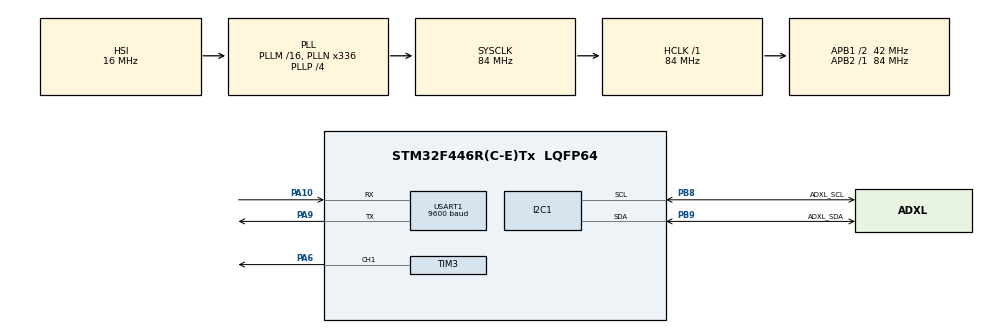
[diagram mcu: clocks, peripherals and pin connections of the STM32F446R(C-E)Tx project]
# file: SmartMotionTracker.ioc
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Mcu.Family=STM32F4
Mcu.Name=STM32F446R(C-E)Tx
Mcu.Package=LQFP64
NVIC.PriorityGroup=NVIC_PRIORITYGROUP_0
NVIC.USART1_IRQn=true\:0\:0\:false\:false\:true\:true\:true\:true
PA10.Mode=Asynchronous
PA10.Signal=USART1_RX
PA13.Mode=Serial_Wire
PA13.Signal=SYS_JTMS-SWDIO
PA14.Mode=Serial_Wire
PA14.Signal=SYS_JTCK-SWCLK
PA6.Signal=S_TIM3_CH1
PA9.Mode=Asynchronous
PA9.Signal=USART1_TX
PB8.GPIO_Label=ADXL_SCL
PB8.Mode=I2C
PB8.Signal=I2C1_SCL
PB9.GPIO_Label=ADXL_SDA
PB9.Mode=I2C
PB9.Signal=I2C1_SDA
PH0-OSC_IN.Mode=HSE-External-Oscillator
PH0-OSC_IN.Signal=RCC_OSC_IN
PH1-OSC_OUT.Mode=HSE-External-Oscillator
PH1-OSC_OUT.Signal=RCC_OSC_OUT
ProjectManager.HeapSize=0x200
ProjectManager.StackSize=0x400
ProjectManager.TargetToolchain=STM32CubeIDE
RCC.48MHZClocksFreq_Value=84000000
RCC.AHBFreq_Value=84000000
RCC.APB1CLKDivider=RCC_HCLK_DIV2
RCC.APB1Freq_Value=42000000
RCC.APB1TimFreq_Value=84000000
RCC.APB2Freq_Value=84000000
RCC.APB2TimFreq_Value=84000000
RCC.CortexFreq_Value=84000000
RCC.FLatency-AdvancedSettings=FLASH_LATENCY_2
RCC.HCLKFreq_Value=84000000
RCC.HSE_VALUE=8000000
RCC.HSI_VALUE=16000000
RCC.PLLN=336
RCC.PLLP=RCC_PLLP_DIV4
RCC.SYSCLKFreq_VALUE=84000000
RCC.SYSCLKSource=RCC_SYSCLKSOURCE_PLLCLK
RCC.USBFreq_Value=168000000
RCC.VCOOutputFreq_Value=336000000
SH.S_TIM3_CH1.0=TIM3_CH1,PWM Generation1 CH1
TIM3.Channel-PWM\ Generation1\ CH1=TIM_CHANNEL_1
TIM3.Period=19999
TIM3.Prescaler=83
TIM3.Pulse-PWM\ Generation1\ CH1=1500
USART1.BaudRate=9600
USART1.VirtualMode=VM_ASYNC
board=NUCLEO-F446RE

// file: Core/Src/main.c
/* USER CODE BEGIN Header */
/**
  ******************************************************************************
  * @file           : main.c
  * @brief          : Main program body
  ******************************************************************************
  * @attention
  *
  * Copyright (c) 2025 STMicroelectronics.
  * All rights reserved.
  *
  * This software is licensed under terms that can be found in the LICENSE file
  * in the root directory of this software component.
  * If no LICENSE file comes with this software, it is provided AS-IS.
  *
  ******************************************************************************
  */
/* USER CODE END Header */
#include "main.h"
#include "i2c.h"
#include "math.h"
#include "stdio.h"
#include "tim.h"
#include "usart.h"
#include "gpio.h"
#include "ssd1306.h"
#include "ssd1306_fonts.h"
#include <stdlib.h>

/* USER CODE BEGIN PD */
#define ADXL345_ADDRESS     (0x53 << 1)  //8-bit address for STM32 HAL (shifted)
#define ADXL345_DEVID       0x00
#define ADXL345_POWER_CTL   0x2D
#define ADXL345_DATA_FORMAT 0x31
#define ADXL345_DATAX0      0x32

/* USER CODE END PD */

/* USER CODE BEGIN PV */
int16_t accX, accY, accZ;;
float gX, gY, gZ;
float roll, pitch;
uint8_t rx_data;
uint8_t rx_buffer[10];
uint8_t rx_index = 0;
float servo_angle =0;
extern I2C_HandleTypeDef hi2c1;
extern TIM_HandleTypeDef htim3;
/* USER CODE END PV */

void SystemClock_Config(void);

/* USER CODE BEGIN 0 */

void ADXL345_Write(uint8_t reg, uint8_t value)
{
    HAL_I2C_Mem_Write(&hi2c1, ADXL345_ADDRESS, reg, 1, &value, 1, 100);
}

uint8_t ADXL345_Read(uint8_t reg)
{
    uint8_t data;
    HAL_I2C_Mem_Read(&hi2c1, ADXL345_ADDRESS, reg, 1, &data, 1, 100);
    return data;
}

void ADXL345_Init(void)
{
    uint8_t devid = ADXL345_Read(ADXL345_DEVID);
    if (devid != 0xE5)
    {
        printf("ADXL345 not found! ID: 0x%02X\r\n", devid);
        return;
    }
    // ±2g ve full resolution mod
    ADXL345_Write(ADXL345_DATA_FORMAT, 0x08);
    // Measurement mode
    ADXL345_Write(ADXL345_POWER_CTL, 0x08);
    printf("ADXL345 initialized successfully.\r\n");
}

void ADXL345_ReadXYZ(void)
{
    uint8_t data[6];
    HAL_I2C_Mem_Read(&hi2c1, ADXL345_ADDRESS, ADXL345_DATAX0, 1, data, 6, 100);

    accX = (int16_t)((data[1] << 8) | data[0]);
    accY = (int16_t)((data[3] << 8) | data[2]);
    accZ = (int16_t)((data[5] << 8) | data[4]);

    gX = accX * 0.0039;
    gY = accY * 0.0039;
    gZ = accZ * 0.0039;
}

void ADXL345_ComputeAngles(void)
{
    roll  = atan2(gY, gZ) * 180 / M_PI;
    pitch = atan2(-gX, sqrt(gY * gY + gZ * gZ)) * 180 / M_PI;
}

void Servo_Set_From_Angle(float roll_angle)
{
    // roll: -45° → 500 PWM, 0° → 1500 PWM, +45° → 2500 PWM
	uint16_t pwm_value = (uint16_t)((roll_angle + 90.0f) * (2000.0f / 180.0f) + 500.0f);

    if (pwm_value < 500) pwm_value = 500;
    if (pwm_value > 2500) pwm_value = 2500;

    __HAL_TIM_SET_COMPARE(&htim3, TIM_CHANNEL_1, pwm_value);
    servo_angle = roll_angle;

}

void HAL_UART_RxCpltCallback(UART_HandleTypeDef *huart)
{
    if (huart->Instance == USART1)
    {
        if (rx_data == '\n')
        {
            rx_buffer[rx_index] = '\0';
            float angle = atof((char*)rx_buffer);

            if (angle >= 0 && angle <= 180)
            {
                servo_angle = angle;
                Servo_Set_From_Angle(servo_angle);
                printf("Servo angle set to %.2f\r\n", servo_angle);
            }
            else
            {
                printf("Invalid angle: %.2f\r\n", angle);
            }
            rx_index = 0;
        }
        else
        {
            rx_buffer[rx_index++] = rx_data;
            if (rx_index >= sizeof(rx_buffer))
                rx_index = 0;
        }
        HAL_UART_Receive_IT(&huart1, &rx_data, 1);
    }
}

/* USER CODE END 0 */

int main(void)
{

  /* MCU Configuration--------------------------------------------------------*/

  /* Reset of all peripherals, Initializes the Flash interface and the Systick. */
	HAL_Init();

  /* Configure the system clock */
  SystemClock_Config();

  /* Initialize all configured peripherals */
  MX_GPIO_Init();
  MX_USART1_UART_Init();
  MX_I2C1_Init();
  MX_TIM3_Init();
  ADXL345_Init();
  ssd1306_Init();
  HAL_TIM_PWM_Start(&htim3, TIM_CHANNEL_1);

  HAL_UART_Receive_IT(&huart1, &rx_data, 1);
  printf("Bluetooth Servo Control Ready.\r\n");

  /* Infinite loop */
  /* USER CODE BEGIN WHILE */
  while (1)
  {
      ADXL345_ReadXYZ();
      ADXL345_ComputeAngles();

      Servo_Set_From_Angle(roll);
      HAL_Delay(1500);

      ssd1306_Fill(Black);

      char buf[32];
      ssd1306_SetCursor(0, 0);
      snprintf(buf, sizeof(buf), "Roll : %.2f", roll);
      ssd1306_WriteString(buf, Font_7x10, 1);

      ssd1306_SetCursor(0, 16);
      snprintf(buf, sizeof(buf), "Pitch: %.2f", pitch);
      ssd1306_WriteString(buf, Font_7x10, 1);

      ssd1306_SetCursor(0, 32);
      if (fabs(roll) > 15 || fabs(pitch) > 15)
          ssd1306_WriteString("Status: TILTED", Font_7x10, 1);
      else
          ssd1306_WriteString("Status: STABLE", Font_7x10, 1);

      ssd1306_SetCursor(0, 48);
      snprintf(buf, sizeof(buf), "Servo: %.2f", servo_angle);
      ssd1306_WriteString(buf, Font_7x10, 1);

      ssd1306_UpdateScreen();

      /*
      __HAL_TIM_SET_COMPARE(&htim3, TIM_CHANNEL_1, 500);   // 0 derece
      HAL_Delay(1000);
      __HAL_TIM_SET_COMPARE(&htim3, TIM_CHANNEL_1, 1500);  // 90 derece
      HAL_Delay(1000);
      __HAL_TIM_SET_COMPARE(&htim3, TIM_CHANNEL_1, 2500);  // 180 derece
      HAL_Delay(1000);
      */
  }
  /* USER CODE END 3 */
}

void SystemClock_Config(void)
{
  RCC_OscInitTypeDef RCC_OscInitStruct = {0};
  RCC_ClkInitTypeDef RCC_ClkInitStruct = {0};

  /** Configure the main internal regulator output voltage
  */
  __HAL_RCC_PWR_CLK_ENABLE();
  __HAL_PWR_VOLTAGESCALING_CONFIG(PWR_REGULATOR_VOLTAGE_SCALE3);

  /** Initializes the RCC Oscillators according to the specified parameters
  * in the RCC_OscInitTypeDef structure.
  */
  RCC_OscInitStruct.OscillatorType = RCC_OSCILLATORTYPE_HSI;
  RCC_OscInitStruct.HSIState = RCC_HSI_ON;
  RCC_OscInitStruct.HSICalibrationValue = RCC_HSICALIBRATION_DEFAULT;
  RCC_OscInitStruct.PLL.PLLState = RCC_PLL_ON;
  RCC_OscInitStruct.PLL.PLLSource = RCC_PLLSOURCE_HSI;
  RCC_OscInitStruct.PLL.PLLM = 16;
  RCC_OscInitStruct.PLL.PLLN = 336;
  RCC_OscInitStruct.PLL.PLLP = RCC_PLLP_DIV4;
  RCC_OscInitStruct.PLL.PLLQ = 2;
  RCC_OscInitStruct.PLL.PLLR = 2;
  if (HAL_RCC_OscConfig(&RCC_OscInitStruct) != HAL_OK)
  {
    Error_Handler();
  }

  /** Initializes the CPU, AHB and APB buses clocks
  */
  RCC_ClkInitStruct.ClockType = RCC_CLOCKTYPE_HCLK|RCC_CLOCKTYPE_SYSCLK
                              |RCC_CLOCKTYPE_PCLK1|RCC_CLOCKTYPE_PCLK2;
  RCC_ClkInitStruct.SYSCLKSource = RCC_SYSCLKSOURCE_PLLCLK;
  RCC_ClkInitStruct.AHBCLKDivider = RCC_SYSCLK_DIV1;
  RCC_ClkInitStruct.APB1CLKDivider = RCC_HCLK_DIV2;
  RCC_ClkInitStruct.APB2CLKDivider = RCC_HCLK_DIV1;

  if (HAL_RCC_ClockConfig(&RCC_ClkInitStruct, FLASH_LATENCY_2) != HAL_OK)
  {
    Error_Handler();
  }
}

void Error_Handler(void)
{
  __disable_irq();
  while (1)
  {
  }
}
